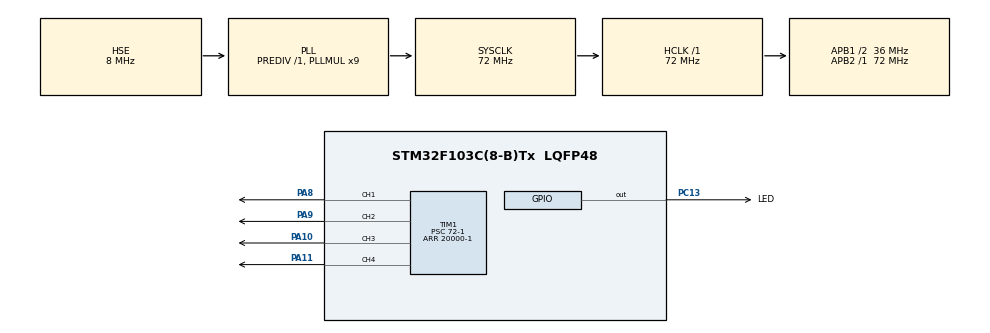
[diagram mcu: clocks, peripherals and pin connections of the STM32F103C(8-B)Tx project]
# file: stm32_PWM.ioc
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Mcu.Family=STM32F1
Mcu.Name=STM32F103C(8-B)Tx
Mcu.Package=LQFP48
NVIC.PriorityGroup=NVIC_PRIORITYGROUP_4
PA10.Signal=S_TIM1_CH3
PA11.Signal=S_TIM1_CH4
PA13.Mode=Serial_Wire
PA13.Signal=SYS_JTMS-SWDIO
PA14.Mode=Serial_Wire
PA14.Signal=SYS_JTCK-SWCLK
PA8.Signal=S_TIM1_CH1
PA9.Signal=S_TIM1_CH2
PC13-TAMPER-RTC.GPIO_Label=LED
PC13-TAMPER-RTC.Signal=GPIO_Output
PD0-OSC_IN.Mode=HSE-External-Oscillator
PD0-OSC_IN.Signal=RCC_OSC_IN
PD1-OSC_OUT.Mode=HSE-External-Oscillator
PD1-OSC_OUT.Signal=RCC_OSC_OUT
ProjectManager.HeapSize=0x200
ProjectManager.StackSize=0x400
ProjectManager.TargetToolchain=STM32CubeIDE
RCC.AHBFreq_Value=72000000
RCC.APB1CLKDivider=RCC_HCLK_DIV2
RCC.APB1Freq_Value=36000000
RCC.APB1TimFreq_Value=72000000
RCC.APB2Freq_Value=72000000
RCC.APB2TimFreq_Value=72000000
RCC.HCLKFreq_Value=72000000
RCC.PLLMUL=RCC_PLL_MUL9
RCC.PLLSourceVirtual=RCC_PLLSOURCE_HSE
RCC.SYSCLKFreq_VALUE=72000000
RCC.SYSCLKSource=RCC_SYSCLKSOURCE_PLLCLK
RCC.USBFreq_Value=72000000
SH.S_TIM1_CH1.0=TIM1_CH1,PWM Generation1 CH1
SH.S_TIM1_CH2.0=TIM1_CH2,PWM Generation2 CH2
SH.S_TIM1_CH3.0=TIM1_CH3,PWM Generation3 CH3
SH.S_TIM1_CH4.0=TIM1_CH4,PWM Generation4 CH4
TIM1.AutoReloadPreload=TIM_AUTORELOAD_PRELOAD_ENABLE
TIM1.Channel-PWM\ Generation1\ CH1=TIM_CHANNEL_1
TIM1.Channel-PWM\ Generation2\ CH2=TIM_CHANNEL_2
TIM1.Channel-PWM\ Generation3\ CH3=TIM_CHANNEL_3
TIM1.Channel-PWM\ Generation4\ CH4=TIM_CHANNEL_4
TIM1.Period=20000-1
TIM1.Prescaler=72-1
TIM1.Pulse-PWM\ Generation1\ CH1=0
VP_TIM1_VS_ClockSourceINT.Mode=Internal
board=custom

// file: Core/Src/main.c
/* USER CODE BEGIN Header */
/**
  ******************************************************************************
  * @file           : main.c
  * @brief          : Main program body
  ******************************************************************************
  * @attention
  *
  * <h2><center>&copy; Copyright (c) 2021 STMicroelectronics.
  * All rights reserved.</center></h2>
  *
  * This software component is licensed by ST under BSD 3-Clause license,
  * the "License"; You may not use this file except in compliance with the
  * License. You may obtain a copy of the License at:
  *                        opensource.org/licenses/BSD-3-Clause
  *
  ******************************************************************************
  */
/* USER CODE END Header */
#include "main.h"

TIM_HandleTypeDef htim1;

void SystemClock_Config(void);
static void MX_GPIO_Init(void);
static void MX_TIM1_Init(void);

int main(void)
{

  /* MCU Configuration--------------------------------------------------------*/

  /* Reset of all peripherals, Initializes the Flash interface and the Systick. */
  HAL_Init();

  /* Configure the system clock */
  SystemClock_Config();

  /* Initialize all configured peripherals */
  MX_GPIO_Init();
  MX_TIM1_Init();
  /* USER CODE BEGIN 2 */

  HAL_TIM_PWM_Start(&htim1, TIM_CHANNEL_1);
  HAL_TIM_PWM_Start(&htim1, TIM_CHANNEL_2);
  HAL_TIM_PWM_Start(&htim1, TIM_CHANNEL_3);
  HAL_TIM_PWM_Start(&htim1, TIM_CHANNEL_4);

  /* USER CODE END 2 */

  /* Infinite loop */
  /* USER CODE BEGIN WHILE */
  while (1)
  {
	 // El timer 1 cuenta con un reloj a 1 MHz y cuenta hasta 20000 - 1 entonces el
	 // periodo es de 20 mS (50 Hz)
	 // Cuando quiera seleccionar el ciclo de trabajo, este va a estar entre cero y
	 // 20000-1 por que es el valor que le configure al timer 1
	 htim1.Instance->CCR1 = 0;
	 htim1.Instance->CCR2 = 0;
	 htim1.Instance->CCR3 = 0;
	 htim1.Instance->CCR4 = 0;
	 HAL_Delay(1000);
	 htim1.Instance->CCR1 = 10000;
	 htim1.Instance->CCR2 = 10000;
	 htim1.Instance->CCR3 = 10000;
	 htim1.Instance->CCR4 = 10000;
	 HAL_Delay(1000);
	 htim1.Instance->CCR1 = 19999;
	 htim1.Instance->CCR2 = 19999;
	 htim1.Instance->CCR3 = 19999;
	 htim1.Instance->CCR4 = 19999;
	 HAL_Delay(1000);

    /* USER CODE END WHILE */

  }
}

void SystemClock_Config(void)
{
  RCC_OscInitTypeDef RCC_OscInitStruct = {0};
  RCC_ClkInitTypeDef RCC_ClkInitStruct = {0};

  /** Initializes the RCC Oscillators according to the specified parameters
  * in the RCC_OscInitTypeDef structure.
  */
  RCC_OscInitStruct.OscillatorType = RCC_OSCILLATORTYPE_HSE;
  RCC_OscInitStruct.HSEState = RCC_HSE_ON;
  RCC_OscInitStruct.HSEPredivValue = RCC_HSE_PREDIV_DIV1;
  RCC_OscInitStruct.HSIState = RCC_HSI_ON;
  RCC_OscInitStruct.PLL.PLLState = RCC_PLL_ON;
  RCC_OscInitStruct.PLL.PLLSource = RCC_PLLSOURCE_HSE;
  RCC_OscInitStruct.PLL.PLLMUL = RCC_PLL_MUL9;
  if (HAL_RCC_OscConfig(&RCC_OscInitStruct) != HAL_OK)
  {
    Error_Handler();
  }
  /** Initializes the CPU, AHB and APB buses clocks
  */
  RCC_ClkInitStruct.ClockType = RCC_CLOCKTYPE_HCLK|RCC_CLOCKTYPE_SYSCLK
                              |RCC_CLOCKTYPE_PCLK1|RCC_CLOCKTYPE_PCLK2;
  RCC_ClkInitStruct.SYSCLKSource = RCC_SYSCLKSOURCE_PLLCLK;
  RCC_ClkInitStruct.AHBCLKDivider = RCC_SYSCLK_DIV1;
  RCC_ClkInitStruct.APB1CLKDivider = RCC_HCLK_DIV2;
  RCC_ClkInitStruct.APB2CLKDivider = RCC_HCLK_DIV1;

  if (HAL_RCC_ClockConfig(&RCC_ClkInitStruct, FLASH_LATENCY_2) != HAL_OK)
  {
    Error_Handler();
  }
}

static void MX_TIM1_Init(void)
{

  TIM_ClockConfigTypeDef sClockSourceConfig = {0};
  TIM_MasterConfigTypeDef sMasterConfig = {0};
  TIM_OC_InitTypeDef sConfigOC = {0};
  TIM_BreakDeadTimeConfigTypeDef sBreakDeadTimeConfig = {0};

  htim1.Instance = TIM1;
  htim1.Init.Prescaler = 72-1;
  htim1.Init.CounterMode = TIM_COUNTERMODE_UP;
  htim1.Init.Period = 20000-1;
  htim1.Init.ClockDivision = TIM_CLOCKDIVISION_DIV1;
  htim1.Init.RepetitionCounter = 0;
  htim1.Init.AutoReloadPreload = TIM_AUTORELOAD_PRELOAD_ENABLE;
  if (HAL_TIM_Base_Init(&htim1) != HAL_OK)
  {
    Error_Handler();
  }
  sClockSourceConfig.ClockSource = TIM_CLOCKSOURCE_INTERNAL;
  if (HAL_TIM_ConfigClockSource(&htim1, &sClockSourceConfig) != HAL_OK)
  {
    Error_Handler();
  }
  if (HAL_TIM_PWM_Init(&htim1) != HAL_OK)
  {
    Error_Handler();
  }
  sMasterConfig.MasterOutputTrigger = TIM_TRGO_RESET;
  sMasterConfig.MasterSlaveMode = TIM_MASTERSLAVEMODE_DISABLE;
  if (HAL_TIMEx_MasterConfigSynchronization(&htim1, &sMasterConfig) != HAL_OK)
  {
    Error_Handler();
  }
  sConfigOC.OCMode = TIM_OCMODE_PWM1;
  sConfigOC.Pulse = 0;
  sConfigOC.OCPolarity = TIM_OCPOLARITY_HIGH;
  sConfigOC.OCNPolarity = TIM_OCNPOLARITY_HIGH;
  sConfigOC.OCFastMode = TIM_OCFAST_DISABLE;
  sConfigOC.OCIdleState = TIM_OCIDLESTATE_RESET;
  sConfigOC.OCNIdleState = TIM_OCNIDLESTATE_RESET;
  if (HAL_TIM_PWM_ConfigChannel(&htim1, &sConfigOC, TIM_CHANNEL_1) != HAL_OK)
  {
    Error_Handler();
  }
  if (HAL_TIM_PWM_ConfigChannel(&htim1, &sConfigOC, TIM_CHANNEL_2) != HAL_OK)
  {
    Error_Handler();
  }
  if (HAL_TIM_PWM_ConfigChannel(&htim1, &sConfigOC, TIM_CHANNEL_3) != HAL_OK)
  {
    Error_Handler();
  }
  if (HAL_TIM_PWM_ConfigChannel(&htim1, &sConfigOC, TIM_CHANNEL_4) != HAL_OK)
  {
    Error_Handler();
  }
  sBreakDeadTimeConfig.OffStateRunMode = TIM_OSSR_DISABLE;
  sBreakDeadTimeConfig.OffStateIDLEMode = TIM_OSSI_DISABLE;
  sBreakDeadTimeConfig.LockLevel = TIM_LOCKLEVEL_OFF;
  sBreakDeadTimeConfig.DeadTime = 0;
  sBreakDeadTimeConfig.BreakState = TIM_BREAK_DISABLE;
  sBreakDeadTimeConfig.BreakPolarity = TIM_BREAKPOLARITY_HIGH;
  sBreakDeadTimeConfig.AutomaticOutput = TIM_AUTOMATICOUTPUT_DISABLE;
  if (HAL_TIMEx_ConfigBreakDeadTime(&htim1, &sBreakDeadTimeConfig) != HAL_OK)
  {
    Error_Handler();
  }
  HAL_TIM_MspPostInit(&htim1);

}

static void MX_GPIO_Init(void)
{
  GPIO_InitTypeDef GPIO_InitStruct = {0};

  /* GPIO Ports Clock Enable */
  __HAL_RCC_GPIOC_CLK_ENABLE();
  __HAL_RCC_GPIOD_CLK_ENABLE();
  __HAL_RCC_GPIOA_CLK_ENABLE();

  /*Configure GPIO pin Output Level */
  HAL_GPIO_WritePin(LED_GPIO_Port, LED_Pin, GPIO_PIN_RESET);

  /*Configure GPIO pin : LED_Pin */
  GPIO_InitStruct.Pin = LED_Pin;
  GPIO_InitStruct.Mode = GPIO_MODE_OUTPUT_PP;
  GPIO_InitStruct.Pull = GPIO_NOPULL;
  GPIO_InitStruct.Speed = GPIO_SPEED_FREQ_LOW;
  HAL_GPIO_Init(LED_GPIO_Port, &GPIO_InitStruct);

}

void Error_Handler(void)
{
  __disable_irq();
  while (1)
  {
  }
}

/************************ (C) COPYRIGHT STMicroelectronics *****END OF FILE****/
